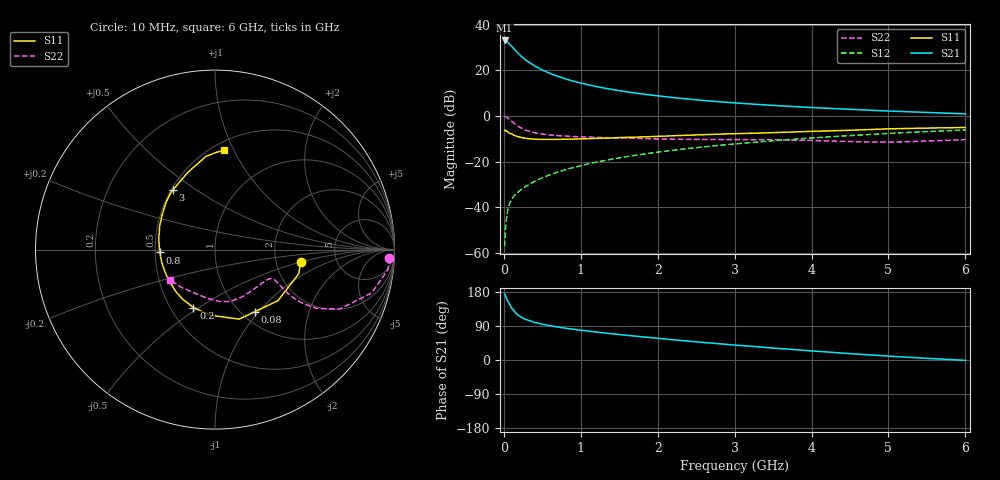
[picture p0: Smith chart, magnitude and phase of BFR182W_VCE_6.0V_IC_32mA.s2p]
! Infineon Technologies  Discrete & RF Semiconductors
! BFR182W
! VCE =  6.0 V,  IC =  32 mA
! Common Emitter S-Parameters:  Jan 2017
# GHz  S  MA  R  50
!  f  S11  S21  S12  S22
! GHz  MAG  ANG  MAG  ANG  MAG  ANG  MAG  ANG
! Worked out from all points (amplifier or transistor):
!   77 points, 10 MHz to 6 GHz, reference 50 ohm
!   highest |S21| = 33.0 dB at 10 MHz (marker M1)
!   |S21| within 3 dB of that: start of sweep to 114 MHz
!   unconditionally stable (mu >= 1): 651.7 MHz to 2.213 GHz
!   at 130 MHz: K = 0.51, MSG = 32.3 dB, |S12| = -35.2 dB
!   at 2.2 GHz: K = 1.00, MAG = 11.3 dB, |S12| = -15.1 dB
!   at 6 GHz: K = 0.86, MSG = 3.5 dB, |S12| = -6.2 dB
!   S11 on the Smith chart (normalised r, x): 10 MHz: 2.77, -0.48; 80 MHz: 1.14, -0.95; 200 MHz: 0.65, -0.48; 800 MHz: 0.53, -0.02; 3 GHz: 0.51, +0.41; 6 GHz: 0.57, +0.92
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0.01  0.4823 -8.0  44.87 174.3  0.0014 84.3  0.9727 -2.8
0.02  0.4857 -16.0  44.68 169.7  0.0031 92.7  0.9709 -6.5
0.05  0.4515 -39.1  41.19 155.6  0.0085 75.6  0.9055 -15.5
0.08  0.4108 -57.4  36.26 145.5  0.0124 71.1  0.8206 -21.1
0.1  0.41 -70.8  33.74 137.3  0.015 69.4  0.7691 -25.5
0.15  0.3671 -93.9  27.15 125.0  0.019 67.2  0.6527 -30.1
0.2  0.3445 -110.4  22.23 116.5  0.0224 67.3  0.5716 -31.5
0.25  0.3296 -123.3  18.68 110.2  0.0264 66.3  0.5155 -31.6
0.3  0.3199 -132.8  15.99 105.9  0.0295 68.2  0.475 -31.0
0.4  0.3093 -147.0  12.44 99.1  0.0368 69.5  0.427 -29.4
0.5  0.3048 -157.2  10.1 94.3  0.0438 71.1  0.3987 -28.2
0.6  0.3051 -165.3  8.523 90.4  0.0513 72.0  0.3813 -27.3
0.8  0.3076 -177.1  6.48 83.9  0.0666 73.7  0.3607 -26.9
0.9  0.3101 178.1  5.775 81.2  0.0734 73.5  0.3537 -27.2
1.1  0.3175 170.2  4.783 76.3  0.0891 73.1  0.344 -28.4
1.5  0.3342 157.5  3.566 67.3  0.1201 71.9  0.3277 -32.8
2.1  0.3609 142.6  2.63 55.4  0.1686 68.6  0.3107 -43.5
3  0.4074 125.0  1.925 39.3  0.2426 61.9  0.3025 -63.5
3.1  0.4111 123.2  1.876 37.9  0.2509 61.0  0.3014 -65.6
4.1  0.4629 107.4  1.497 22.6  0.3362 52.1  0.286 -87.5
5.1  0.524 94.6  1.259 9.1  0.4202 42.3  0.2687 -118.8
6  0.5574 84.6  1.109 -1.0  0.4913 32.9  0.3026 -146.3
